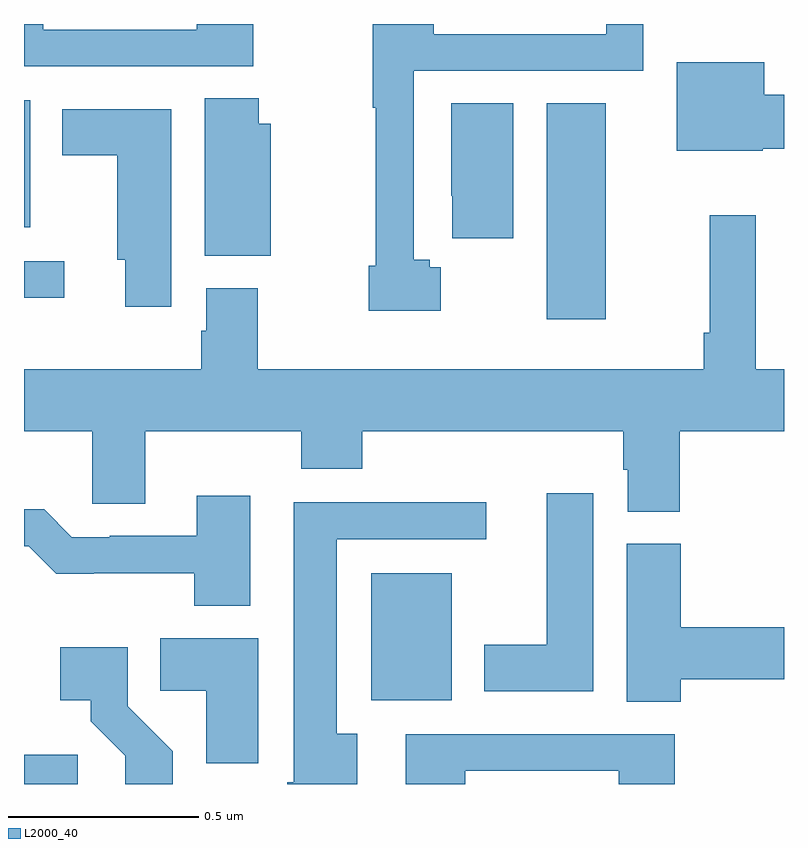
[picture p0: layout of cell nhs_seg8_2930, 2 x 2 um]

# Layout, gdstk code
import gdstk
lib = gdstk.Library(unit=1e-6, precision=1e-09)
def R(c, l, rs):  # rectangles x0, y0, x1, y1
    for r in rs: c.add(gdstk.rectangle(r[:2], r[2:], *l))
def P(c, l, *ps):  # polygons
    for p in ps: c.add(gdstk.Polygon(p, *l))
L2000_40 = (2000, 40)

nhs_seg8_2930 = lib.new_cell('nhs_seg8_2930')
R(nhs_seg8_2930, L2000_40, [(150,1120.9,150.142,1120.977), (150.914,1121.12,151.126,1121.455), (151.376,1122.123,151.531,1122.692), (150,1122.179,150.106,1122.276), (150,1122.365,150.016,1122.7)])
P(nhs_seg8_2930, L2000_40, [(150.603,1122.9),(150.455,1122.9),(150.455,1122.885),(150.051,1122.885),(150.051,1122.9),(150,1122.9),(150,1122.789),(150.603,1122.789)],
  [(151.097,1122.26),(151.068,1122.26),(151.068,1122.28),(151.026,1122.28),(151.026,1122.777),(151.63,1122.777),(151.63,1122.9),(151.532,1122.9),(151.532,1122.873),(151.078,1122.873),(151.078,1122.9),(150.918,1122.9),(150.918,1122.68),(150.925,1122.68),(150.925,1122.264),(150.907,1122.264),(150.907,1122.146),(151.097,1122.146)],
  [(151.944,1122.572),(152,1122.572),(152,1122.714),(151.948,1122.714),(151.948,1122.799),(151.718,1122.799),(151.718,1122.566),(151.944,1122.566)],
  [(150.649,1122.637),(150.618,1122.637),(150.618,1122.704),(150.476,1122.704),(150.476,1122.29),(150.649,1122.29)],
  [(151.288,1122.692),(151.124,1122.692),(151.124,1122.448),(151.127,1122.448),(151.127,1122.336),(151.288,1122.336)],
  [(150.388,1122.676),(150.101,1122.676),(150.101,1122.554),(150.245,1122.554),(150.245,1122.279),(150.266,1122.279),(150.266,1122.156),(150.388,1122.156)],
  [(151.725,1121.828),(152,1121.828),(152,1121.992),(151.925,1121.992),(151.925,1122.397),(151.804,1122.397),(151.804,1122.088),(151.789,1122.088),(151.789,1121.992),(150.615,1121.992),(150.615,1122.205),(150.479,1122.205),(150.479,1122.093),(150.467,1122.093),(150.467,1121.992),(150,1121.992),(150,1121.828),(150.18,1121.828),(150.18,1121.638),(150.319,1121.638),(150.319,1121.828),(150.73,1121.828),(150.73,1121.729),(150.89,1121.729),(150.89,1121.828),(151.577,1121.828),(151.577,1121.727),(151.589,1121.727),(151.589,1121.617),(151.725,1121.617)],
  [(151.498,1121.665),(151.376,1121.665),(151.376,1121.266),(151.211,1121.266),(151.211,1121.144),(151.498,1121.144)],
  [(150.595,1121.659),(150.455,1121.659),(150.455,1121.553),(150.226,1121.553),(150.226,1121.55),(150.126,1121.55),(150.053,1121.623),(150,1121.623),(150,1121.526),(150.012,1121.526),(150.085,1121.453),(150.184,1121.453),(150.184,1121.454),(150.448,1121.454),(150.448,1121.369),(150.595,1121.369)],
  [(150.877,1121.032),(150.823,1121.032),(150.823,1121.544),(151.216,1121.544),(151.216,1121.642),(150.71,1121.642),(150.71,1120.905),(150.693,1120.905),(150.693,1120.9),(150.877,1120.9)],
  [(151.728,1121.176),(152,1121.176),(152,1121.312),(151.728,1121.312),(151.728,1121.532),(151.586,1121.532),(151.586,1121.116),(151.728,1121.116)],
  [(150.616,1121.284),(150.358,1121.284),(150.358,1121.146),(150.479,1121.146),(150.479,1120.955),(150.616,1120.955)],
  [(150.392,1120.986),(150.273,1121.105),(150.273,1121.26),(150.096,1121.26),(150.096,1121.12),(150.176,1121.12),(150.176,1121.065),(150.267,1120.975),(150.267,1120.9),(150.392,1120.9)],
  [(151.161,1120.935),(151.565,1120.935),(151.565,1120.9),(151.713,1120.9),(151.713,1121.031),(151.005,1121.031),(151.005,1120.9),(151.161,1120.9)])

lib.write_gds('nhs_seg8_2930.gds')
